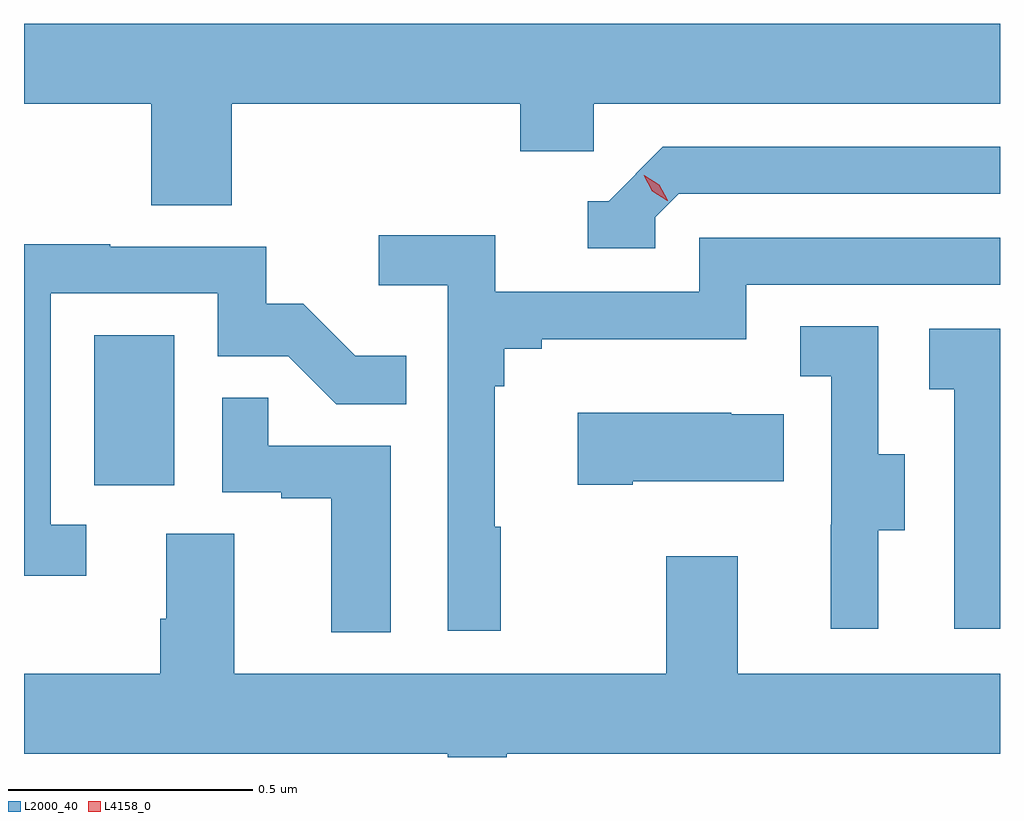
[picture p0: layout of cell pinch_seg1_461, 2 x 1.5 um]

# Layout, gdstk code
import gdstk
lib = gdstk.Library(unit=1e-6, precision=1e-09)
def R(c, l, rs):  # rectangles x0, y0, x1, y1
    for r in rs: c.add(gdstk.rectangle(r[:2], r[2:], *l))
def P(c, l, *ps):  # polygons
    for p in ps: c.add(gdstk.Polygon(p, *l))
L2000_40 = (2000, 40)
L4158_0 = (4158, 0)

pinch_seg1_461 = lib.new_cell('pinch_seg1_461')
R(pinch_seg1_461, L2000_40, [(951.644,516.318,951.808,516.625)])
P(pinch_seg1_461, L2000_40, [(951.926,517.1),(952.517,517.1),(952.517,517.002),(952.668,517.002),(952.668,517.1),(953.5,517.1),(953.5,517.264),(951.5,517.264),(951.5,517.1),(951.761,517.1),(951.761,516.892),(951.926,516.892)],
  [(952.794,516.867),(952.842,516.915),(953.5,516.915),(953.5,517.011),(952.809,517.011),(952.698,516.9),(952.655,516.9),(952.655,516.804),(952.794,516.804)],
  [(952.477,516.233),(952.465,516.233),(952.465,516.521),(952.484,516.521),(952.484,516.598),(952.561,516.598),(952.561,516.617),(952.98,516.617),(952.98,516.729),(953.5,516.729),(953.5,516.825),(952.884,516.825),(952.884,516.714),(952.466,516.714),(952.466,516.83),(952.227,516.83),(952.227,516.728),(952.368,516.728),(952.368,516.02),(952.477,516.02)],
  [(951.628,516.237),(951.555,516.237),(951.555,516.711),(951.897,516.711),(951.897,516.582),(952.042,516.582),(952.14,516.484),(952.283,516.484),(952.283,516.583),(952.179,516.583),(952.072,516.69),(951.996,516.69),(951.996,516.807),(951.677,516.807),(951.677,516.812),(951.5,516.812),(951.5,516.132),(951.628,516.132)],
  [(953.251,516.226),(953.305,516.226),(953.305,516.381),(953.25,516.381),(953.25,516.644),(953.091,516.644),(953.091,516.541),(953.154,516.541),(953.154,516.237),(953.153,516.237),(953.153,516.024),(953.251,516.024)],
  [(953.5,516.639),(953.355,516.639),(953.355,516.515),(953.406,516.515),(953.406,516.024),(953.5,516.024)],
  [(952.252,516.399),(952.001,516.399),(952.001,516.497),(951.906,516.497),(951.906,516.303),(952.027,516.303),(952.027,516.291),(952.13,516.291),(952.13,516.017),(952.252,516.017)],
  [(952.747,516.326),(953.057,516.326),(953.057,516.463),(952.949,516.463),(952.949,516.466),(952.635,516.466),(952.635,516.319),(952.747,516.319)],
  [(952.489,515.768),(953.5,515.768),(953.5,515.932),(952.963,515.932),(952.963,516.172),(952.816,516.172),(952.816,515.932),(951.931,515.932),(951.931,516.218),(951.791,516.218),(951.791,516.044),(951.779,516.044),(951.779,515.932),(951.5,515.932),(951.5,515.768),(952.368,515.768),(952.368,515.76),(952.489,515.76)])
P(pinch_seg1_461, L4158_0, [(952.818,516.901),(952.787,516.92),(952.77,516.953),(952.77,516.953),(952.771,516.953),(952.802,516.934),(952.819,516.902),(952.819,516.901)])

lib.write_gds('pinch_seg1_461.gds')
